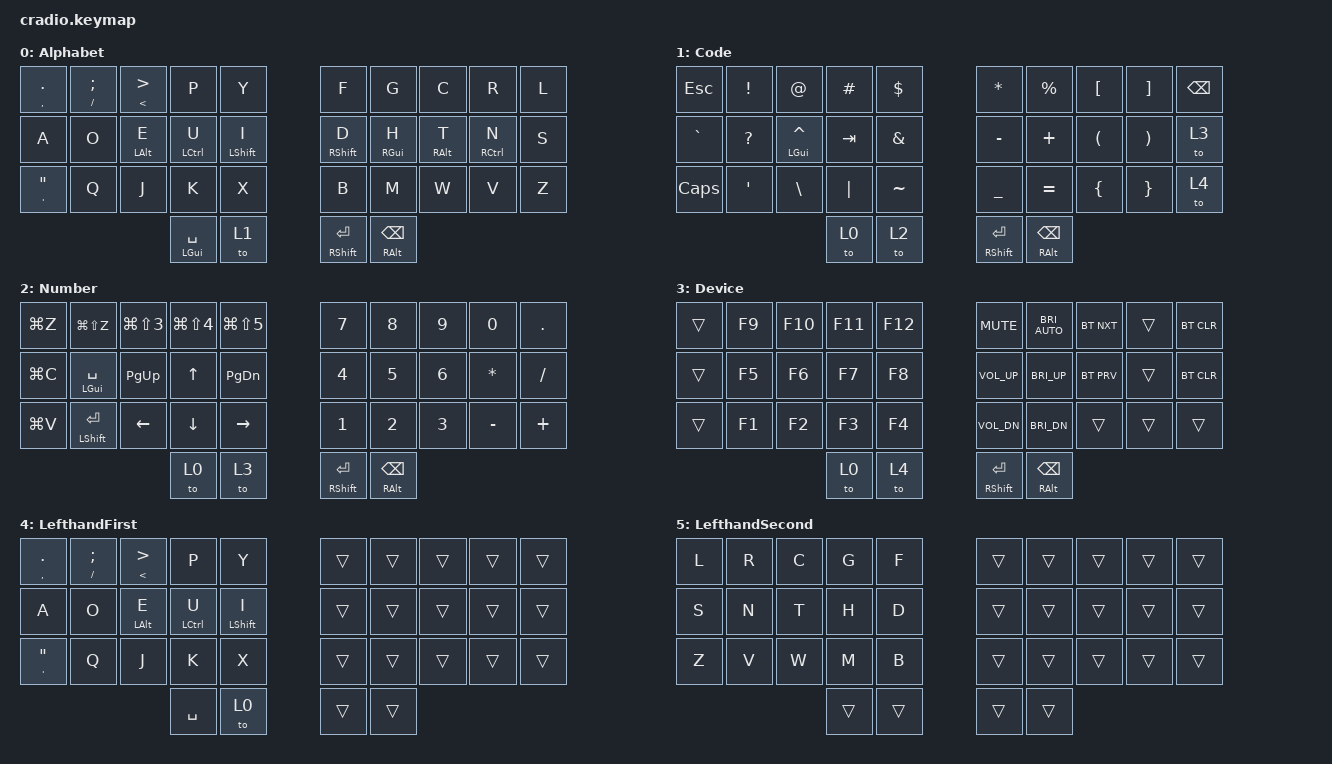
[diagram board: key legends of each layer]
/*
 * Copyright (c) 2020 The ZMK Contributors
 *
 * SPDX-License-Identifier: MIT
 */

#include <behaviors.dtsi>
#include <dt-bindings/zmk/keys.h>
#include <dt-bindings/zmk/bt.h>
#include <dt-bindings/zmk/mouse.h>

#define Alphabet        0
#define Code            1
#define Number          2
#define Device          3
#define LefthandFirst   4
#define LefthandSecond  5


&mt {
    flavor = "tap-preferred";
    tapping_term_ms = <200>;
};


/ {
    combos {
        compatible = "zmk,combos";
        combo_ESC {
            timeout-ms = <50>;
            key-positions = <0 1>;
            bindings = <&kp ESC>;
        };
        combo_BSPC {
            timeout-ms = <50>;
            key-positions = <2 3>;
            bindings = <&kp BSPC>;
        };
        combo_ENTER {
            timeout-ms = <50>;
            key-positions = <12 13>;
            bindings = <&kp ENTER>;
        };
        combo_COPY {
            timeout-ms = <50>;
            key-positions = <11 12>;
            bindings = <&kp LG(C)>;
        };
        combo_PASTE {
            timeout-ms = <50>;
            key-positions = <1 2>;
            bindings = <&kp LG(V)>;
        };
        combo_SAVE {
            timeout-ms = <50>;
            key-positions = <10 11>;
            bindings = <&kp LG(S)>;
        };
        combo_UNDO {
            timeout-ms = <50>;
            key-positions = <13 14>;
            bindings = <&kp LG(Z)>;
        };
        combo_REDO {
            timeout-ms = <50>;
            key-positions = <3 4>;
            bindings = <&kp LG(LS(Z))>;
        };
        combo_CONT {
            timeout-ms = <50>;
            key-positions = <22 23>;
            bindings = <&kp LG(LA(X))>;
        };
        combo_LMODE {
            timeout-ms = <50>;
            key-positions = <11 12 13>;
            bindings = <&to 4>;
        };
    };

    behaviors {
        hm: homerow_mods {
            compatible = "zmk,behavior-hold-tap";
            label = "HOMEROW_MODS";
            #binding-cells = <2>;
            tapping-term-ms = <200>;
            quick_tap_ms = <0>;
            flavor = "tap-preferred";
            bindings = <&kp>, <&kp>;
        };
        td: tapdance {
            compatible = "zmk,behavior-hold-tap";
            label = "TAPDANCE";
            #binding-cells = <2>;
            tapping-term-ms = <150>;
            quick_tap_ms = <0>;
            flavor = "tap-preferred";
            bindings = <&kp>, <&kp>;
        };
    };

    keymap {
        compatible = "zmk,keymap";

        Alphabet {
            bindings = <
                &td COMMA DOT  &mt FSLH SEMI  &td LT GT  &kp P  &kp Y  &kp F  &kp G  &kp C  &kp R  &kp L
                &kp A  &kp O  &hm LALT E  &hm LCTRL U  &hm LSHIFT I  &hm RSHIFT D  &hm RGUI H  &hm RALT T  &hm RCTRL N  &kp S
                &td SQT DQT  &kp Q  &kp J  &kp K  &kp X  &kp B  &kp M  &kp W  &kp V  &kp Z
                &mt LGUI SPACE  &to 1  &mt RSHIFT ENTER  &mt RALT BSPC
            >;
        };

        Code {
            bindings = <
                &kp ESC  &kp EXCL  &kp AT  &kp HASH  &kp DLLR  &kp STAR  &kp PRCNT  &kp LBKT  &kp RBKT  &kp BSPC
                &kp GRAVE  &kp QMARK  &hm LGUI CARET  &kp TAB  &kp AMPS  &kp MINUS  &kp PLUS  &kp LPAR  &kp RPAR  &to 3
                &kp CAPS  &kp APOS  &kp BSLH  &kp PIPE  &kp TILDE  &kp UNDER  &kp EQUAL  &kp LBRC  &kp RBRC  &to 4
                &to 0  &to 2  &mt RSHIFT ENTER  &mt RALT BSPC
            >;
        };

        Number {
            bindings = <
                &kp LG(Z)  &kp LG(LS(Z))  &kp LG(LS(N3))  &kp LG(LS(N4))  &kp LG(LS(N5))  &kp N7  &kp N8  &kp N9  &kp N0  &kp DOT
                &kp LG(C)  &mt LGUI SPACE  &kp PG_UP  &kp UP  &kp PG_DN  &kp N4  &kp N5  &kp N6  &kp STAR  &kp SLASH
                &kp LG(V)  &mt LSHIFT ENTER  &kp LEFT  &kp DOWN  &kp RIGHT  &kp N1  &kp N2  &kp N3  &kp MINUS  &kp PLUS
                &to 0  &to 3  &mt RSHIFT ENTER  &mt RALT BSPC
            >;
        };

        Device {
            bindings = <
                &trans  &kp F9  &kp F10  &kp F11  &kp F12  &kp C_MUTE  &kp C_BRI_AUTO  &bt BT_NXT  &trans  &bt BT_CLR
                &trans  &kp F5  &kp F6  &kp F7  &kp F8  &kp C_VOL_UP  &kp C_BRI_UP  &bt BT_PRV  &trans  &bt BT_CLR
                &trans  &kp F1  &kp F2  &kp F3  &kp F4  &kp C_VOL_DN  &kp C_BRI_DN  &trans  &trans  &trans
                &to 0  &to 4  &mt RSHIFT ENTER  &mt RALT BSPC
            >;
        };

        LefthandFirst {
            bindings = <
                &td COMMA DOT  &mt FSLH SEMI  &td LT GT  &kp P  &kp Y  &trans  &trans  &trans  &trans  &trans
                &kp A  &kp O  &hm LALT E  &hm LCTRL U  &hm LSHIFT I  &trans  &trans  &trans  &trans  &trans
                &td SQT DQT  &kp Q  &kp J  &kp K  &kp X  &trans  &trans  &trans  &trans  &trans
                &kp SPACE  &to 0  &trans  &trans
            >;
        };

        LefthandSecond {
            bindings = <
                &kp L  &kp R  &kp C  &kp G  &kp F  &trans  &trans  &trans  &trans  &trans
                &kp S  &kp N  &kp T  &kp H  &kp D  &trans  &trans  &trans  &trans  &trans
                &kp Z  &kp V  &kp W  &kp M  &kp B  &trans  &trans  &trans  &trans  &trans
                &trans  &trans  &trans  &trans
            >;
        };
    };
};
